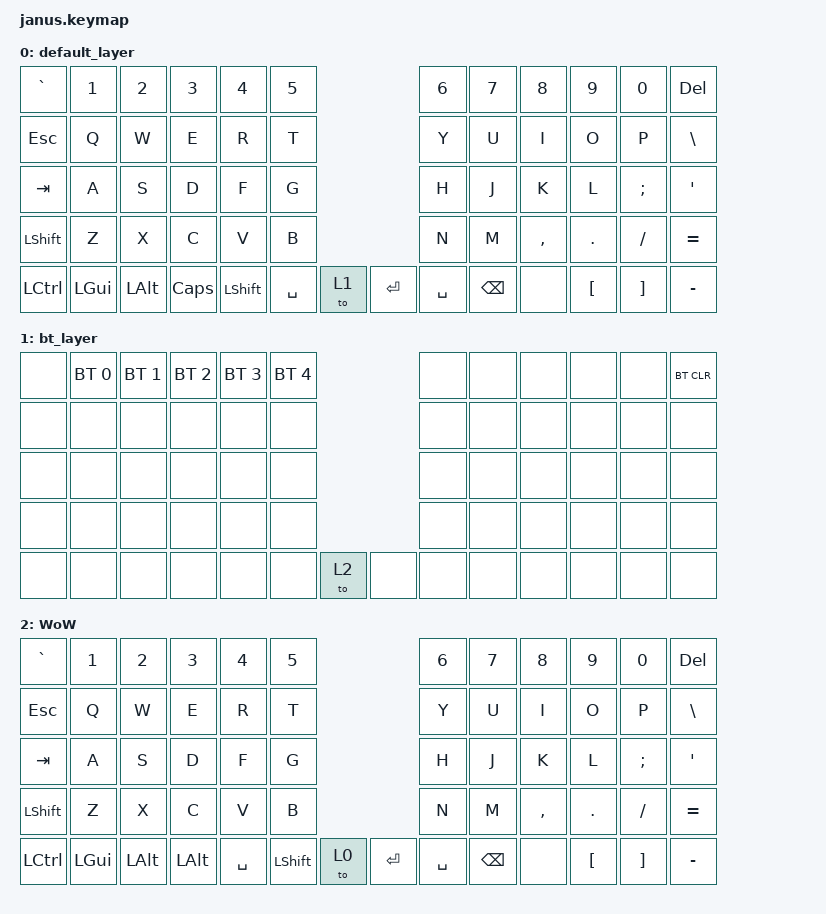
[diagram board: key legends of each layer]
#include <behaviors.dtsi>
#include <dt-bindings/zmk/bt.h>
#include <dt-bindings/zmk/keys.h>

/ {
    keymap {
        compatible = "zmk,keymap";

        default_layer {
            bindings = <
&kp GRAVE   &kp N1    &kp N2    &kp N3    &kp N4      &kp N5                       &kp N6     &kp N7    &kp N8     &kp N9    &kp N0    &kp DEL
&kp ESCAPE  &kp Q     &kp W     &kp E     &kp R       &kp T                        &kp Y      &kp U     &kp I      &kp O     &kp P     &kp BSLH
&kp TAB     &kp A     &kp S     &kp D     &kp F       &kp G                        &kp H      &kp J     &kp K      &kp L     &kp SEMI  &kp SQT
&kp LSHIFT  &kp Z     &kp X     &kp C     &kp V       &kp B                        &kp N      &kp M     &kp COMMA  &kp DOT   &kp FSLH  &kp EQUAL
&kp LCTRL   &kp LGUI  &kp LALT  &kp CAPS  &kp LSHIFT  &kp SPACE  &to 1  &kp ENTER  &kp SPACE  &kp BSPC  &none      &kp LBKT  &kp RBKT  &kp MINUS
            >;
        };

        bt_layer {
            bindings = <
&none  &bt BT_SEL 0  &bt BT_SEL 1  &bt BT_SEL 2  &bt BT_SEL 3  &bt BT_SEL 4                &none  &none  &none  &none  &none  &bt BT_CLR
&none  &none         &none         &none         &none         &none                       &none  &none  &none  &none  &none  &none
&none  &none         &none         &none         &none         &none                       &none  &none  &none  &none  &none  &none
&none  &none         &none         &none         &none         &none                       &none  &none  &none  &none  &none  &none
&none  &none         &none         &none         &none         &none         &to 2  &none  &none  &none  &none  &none  &none  &none
            >;
        };

        WoW {
            bindings = <
&kp GRAVE   &kp N1    &kp N2    &kp N3    &kp N4     &kp N5                        &kp N6     &kp N7    &kp N8     &kp N9    &kp N0    &kp DEL
&kp ESCAPE  &kp Q     &kp W     &kp E     &kp R      &kp T                         &kp Y      &kp U     &kp I      &kp O     &kp P     &kp BSLH
&kp TAB     &kp A     &kp S     &kp D     &kp F      &kp G                         &kp H      &kp J     &kp K      &kp L     &kp SEMI  &kp SQT
&kp LSHIFT  &kp Z     &kp X     &kp C     &kp V      &kp B                         &kp N      &kp M     &kp COMMA  &kp DOT   &kp FSLH  &kp EQUAL
&kp LCTRL   &kp LGUI  &kp LALT  &kp LALT  &kp SPACE  &kp LSHIFT  &to 0  &kp ENTER  &kp SPACE  &kp BSPC  &none      &kp LBKT  &kp RBKT  &kp MINUS
            >;
        };
    };
};
